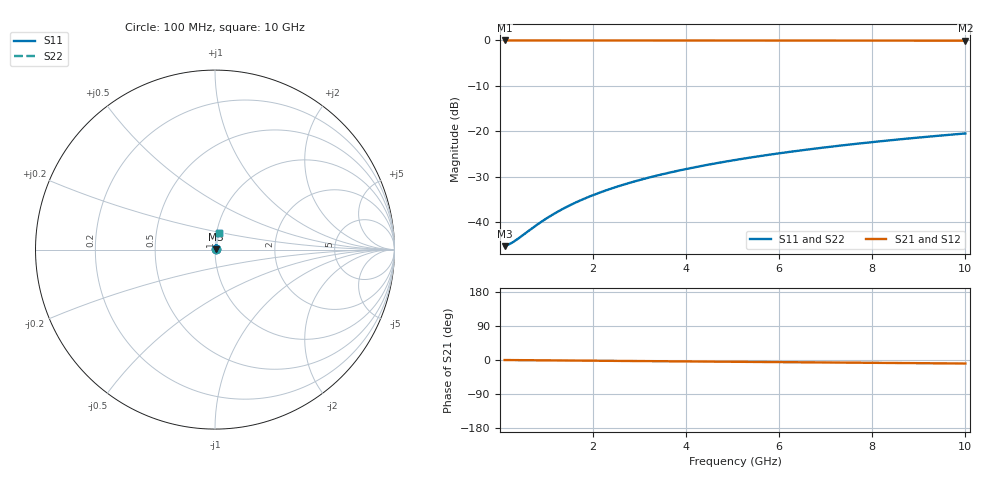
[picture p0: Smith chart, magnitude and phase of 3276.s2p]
# Hz S RI R 50.00
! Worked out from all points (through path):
!   100 points, 100 MHz to 10 GHz, reference 50 ohm
!   highest |S21| = -0.05 dB at 100 MHz (marker M1); lowest = -0.1 dB at 10 GHz (marker M2)
!   group delay of S21, straight-line fit = 2.58 ps
!   lowest |S11| = -45.3 dB at 100 MHz (marker M3), VSWR 1.01, Z = 50.5 + j0.095 ohm
!   |S11| at or under -10 dB: start of sweep to end of sweep
!   |S22| runs from -45.3 to -20.5 dB; largest |S21 - S12| = 0
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1e8  0.00535 0.00094  0.9946 -0.00162  0.9946 -0.00162  0.00535 0.00094
2e8  0.00539 0.00188  0.9946 -0.00323  0.9946 -0.00323  0.00539 0.00188
3e8  0.00542 0.00282  0.9946 -0.00485  0.9946 -0.00485  0.00542 0.00282
4e8  0.00545 0.00376  0.9945 -0.00646  0.9945 -0.00646  0.00545 0.00376
8e8  0.00559 0.00752  0.9944 -0.0129  0.9944 -0.0129  0.00559 0.00752
1.1e9  0.00571 0.0103  0.9943 -0.0178  0.9943 -0.0178  0.00571 0.0103
1.4e9  0.00585 0.0131  0.9941 -0.0226  0.9941 -0.0226  0.00585 0.0131
1.6e9  0.00596 0.015  0.994 -0.0258  0.994 -0.0258  0.00596 0.015
1.8e9  0.00608 0.0169  0.9938 -0.0291  0.9938 -0.0291  0.00608 0.0169
2.1e9  0.00628 0.0197  0.9936 -0.0339  0.9936 -0.0339  0.00628 0.0197
2.5e9  0.00658 0.0235  0.9933 -0.0404  0.9933 -0.0404  0.00658 0.0235
2.9e9  0.00693 0.0272  0.9929 -0.0468  0.9929 -0.0468  0.00693 0.0272
3.4e9  0.00744 0.0319  0.9923 -0.0549  0.9923 -0.0549  0.00744 0.0319
3.8e9  0.0079 0.0356  0.9917 -0.0613  0.9917 -0.0613  0.0079 0.0356
4.2e9  0.00841 0.0393  0.9912 -0.0677  0.9912 -0.0677  0.00841 0.0393
4.6e9  0.00896 0.043  0.9905 -0.0741  0.9905 -0.0741  0.00896 0.043
5.1e9  0.00972 0.0476  0.9897 -0.0822  0.9897 -0.0822  0.00972 0.0476
5.9e9  0.0111 0.055  0.9881 -0.0949  0.9881 -0.0949  0.0111 0.055
6.7e9  0.0126 0.0623  0.9863 -0.1077  0.9863 -0.1077  0.0126 0.0623
7.5e9  0.0144 0.0696  0.9843 -0.1204  0.9843 -0.1204  0.0144 0.0696
8.4e9  0.0166 0.0777  0.9817 -0.1346  0.9817 -0.1346  0.0166 0.0777
1e10  0.021 0.092  0.9766 -0.1598  0.9766 -0.1598  0.021 0.092
